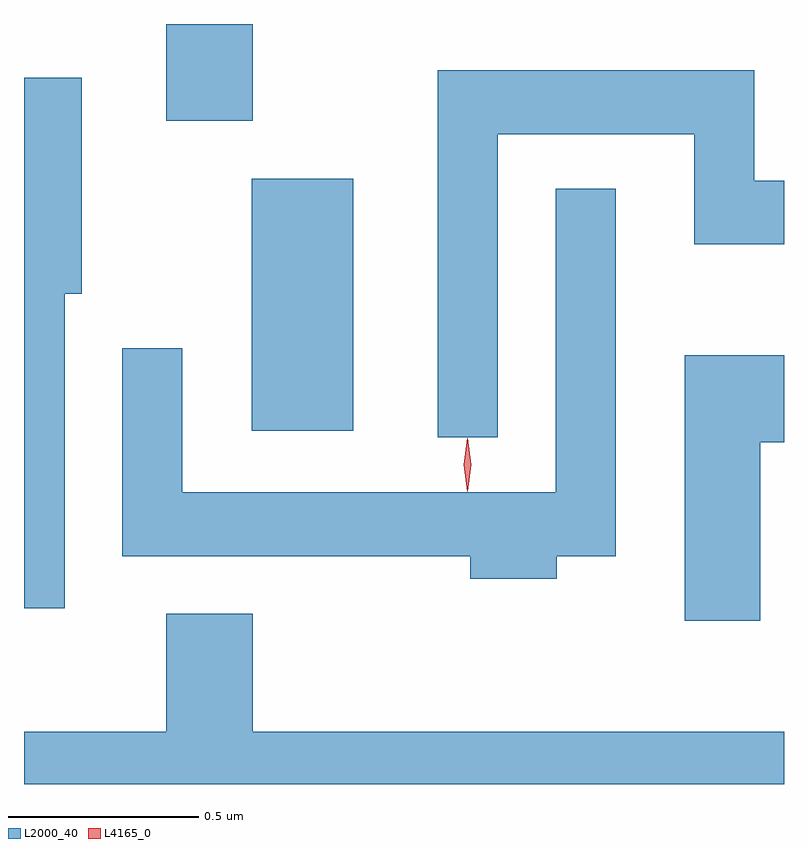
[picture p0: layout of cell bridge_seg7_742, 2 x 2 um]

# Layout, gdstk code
import gdstk
lib = gdstk.Library(unit=1e-6, precision=1e-09)
def R(c, l, rs):  # rectangles x0, y0, x1, y1
    for r in rs: c.add(gdstk.rectangle(r[:2], r[2:], *l))
def P(c, l, *ps):  # polygons
    for p in ps: c.add(gdstk.Polygon(p, *l))
L2000_40 = (2000, 40)
L4165_0 = (4165, 0)

bridge_seg7_742 = lib.new_cell('bridge_seg7_742')
R(bridge_seg7_742, L2000_40, [(606.726,1753.116,606.994,1753.779), (606.501,1753.931,606.729,1754.186)])
P(bridge_seg7_742, L2000_40, [(607.374,1753.896),(607.891,1753.896),(607.891,1753.606),(608.127,1753.606),(608.127,1753.774),(608.049,1753.774),(608.049,1754.064),(607.216,1754.064),(607.216,1753.098),(607.374,1753.098)],
  [(606.234,1753.476),(606.279,1753.476),(606.279,1754.044),(606.127,1754.044),(606.127,1752.648),(606.234,1752.648)],
  [(607.529,1752.786),(607.684,1752.786),(607.684,1753.753),(607.526,1753.753),(607.526,1752.954),(606.544,1752.954),(606.544,1753.333),(606.386,1753.333),(606.386,1752.786),(607.301,1752.786),(607.301,1752.726),(607.529,1752.726)],
  [(608.064,1753.086),(608.127,1753.086),(608.127,1753.314),(607.866,1753.314),(607.866,1752.616),(608.064,1752.616)],
  [(608.127,1752.324),(606.729,1752.324),(606.729,1752.634),(606.501,1752.634),(606.501,1752.324),(606.127,1752.324),(606.127,1752.186),(608.127,1752.186)])
P(bridge_seg7_742, L4165_0, [(607.294,1752.957),(607.294,1752.957),(607.284,1753.026),(607.294,1753.096),(607.294,1753.096),(607.295,1753.096),(607.304,1753.026),(607.295,1752.957)],
  [(607.294,1752.959),(607.294,1752.96),(607.284,1753.026),(607.294,1753.092),(607.294,1753.093),(607.295,1753.092),(607.304,1753.026),(607.295,1752.96)])

lib.write_gds('bridge_seg7_742.gds')
